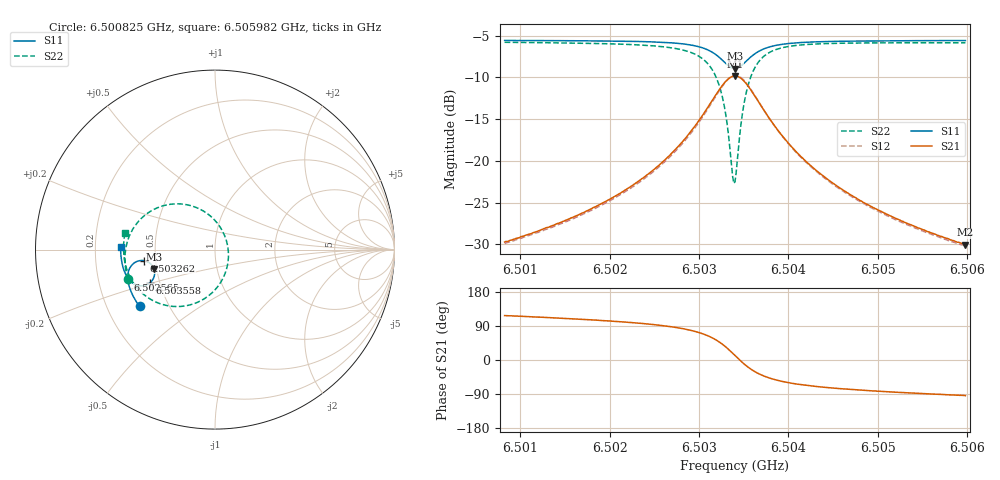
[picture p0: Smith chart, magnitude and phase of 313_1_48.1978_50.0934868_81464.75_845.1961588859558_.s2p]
#  HZ  S  RI  R  50.00
! Rohde & Schwarz Vector Network Analyzer
! Rohde-Schwarz,ZNB20-2Port,1311601062101988,3.16
! Created: UTC 3/20/2024, 11:50:03 AM
! freq[Hz]  re:S11  im:S11  re:S21  im:S21  re:S12  im:S12  re:S22  im:S22
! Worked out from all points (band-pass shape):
!   401 points, 6.500825 GHz to 6.505982 GHz, reference 50 ohm
!   highest |S21| = -9.82 dB at 6.503403 GHz (marker M1); lowest = -30.0 dB at 6.505982 GHz (marker M2)
!   |S21| within 3 dB of the highest: 6.503145 GHz to 6.503661 GHz (515.6 kHz wide, 0.00793 % of centre)
!   lowest |S11| = -9.0 dB at 6.503403 GHz (marker M3), VSWR 2.11, Z = 24.2 - j6.09 ohm
!   |S11| at or under -10 dB: nowhere
!   |S22| runs from -22.7 to -5.8 dB; largest |S21 - S12| = 0.011
!   S11 on the Smith chart (normalised r, x): 6.500825 GHz: 0.34, -0.30; 6.502565 GHz: 0.33, -0.15; 6.503262 GHz: 0.43, -0.06; 6.503558 GHz: 0.44, -0.20; 6.505982 GHz: 0.31, +0.01
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6.5008249e9  -0.4206 -0.317  -0.0149 0.0291  -0.0133 0.0291  -0.4862 -0.1654
6.5016888e9  -0.4586 -0.2542  -0.0145 0.0465  -0.0121 0.046  -0.5014 -0.0754
6.5021529e9  -0.4754 -0.2137  -0.012 0.0647  -0.00893 0.0638  -0.4995 -0.0115
6.5025526e9  -0.4854 -0.1708  -0.00308 0.0942  0.000529 0.0922  -0.4812 0.0654
6.5025655e9  -0.4857 -0.1691  -0.00252 0.0956  0.00106 0.0933  -0.4801 0.0687
6.5028104e9  -0.485 -0.134  0.0156 0.1285  0.0193 0.1248  -0.4418 0.1379
6.5029909e9  -0.4737 -0.1009  0.05 0.1644  0.0532 0.1591  -0.3743 0.2036
6.5031585e9  -0.4393 -0.0678  0.1269 0.1975  0.1282 0.191  -0.233 0.2541
6.5032617e9  -0.3971 -0.061  0.2114 0.1886  0.2116 0.1832  -0.086 0.2265
6.5033132e9  -0.372 -0.0696  0.2591 0.1608  0.26 0.1561  -0.00677 0.1695
6.5033777e9  -0.3457 -0.0956  0.3061 0.098  0.3085 0.0929  0.0638 0.0488
6.5034035e9  -0.3394 -0.11  0.3161 0.0663  0.319 0.0605  0.0744 -0.0101
6.5034164e9  -0.3376 -0.1175  0.3188 0.05  0.3219 0.0435  0.075 -0.0404
6.5034937e9  -0.3436 -0.1616  0.3018 -0.0433  0.3037 -0.053  0.0178 -0.2028
6.5035582e9  -0.3644 -0.1869  0.2598 -0.0963  0.2585 -0.1073  -0.077 -0.2837
6.5036614e9  -0.4032 -0.2016  0.1865 -0.1319  0.1814 -0.141  -0.224 -0.317
6.503829e9  -0.4486 -0.192  0.1066 -0.1291  0.0996 -0.1339  -0.3681 -0.2713
6.5040095e9  -0.4757 -0.1705  0.0629 -0.1095  0.0569 -0.1116  -0.4389 -0.2074
6.5042673e9  -0.4961 -0.1405  0.0334 -0.0857  0.0287 -0.0863  -0.4816 -0.1362
6.5046412e9  -0.5113 -0.1021  0.0151 -0.0639  0.0118 -0.0632  -0.5033 -0.064
6.5051311e9  -0.5212 -0.0569  0.00502 -0.047  0.0027 -0.0463  -0.5097 0.00385
6.505982e9  -0.5258 0.0146  -0.00222 -0.0315  -0.00341 -0.0307  -0.5015 0.0922
